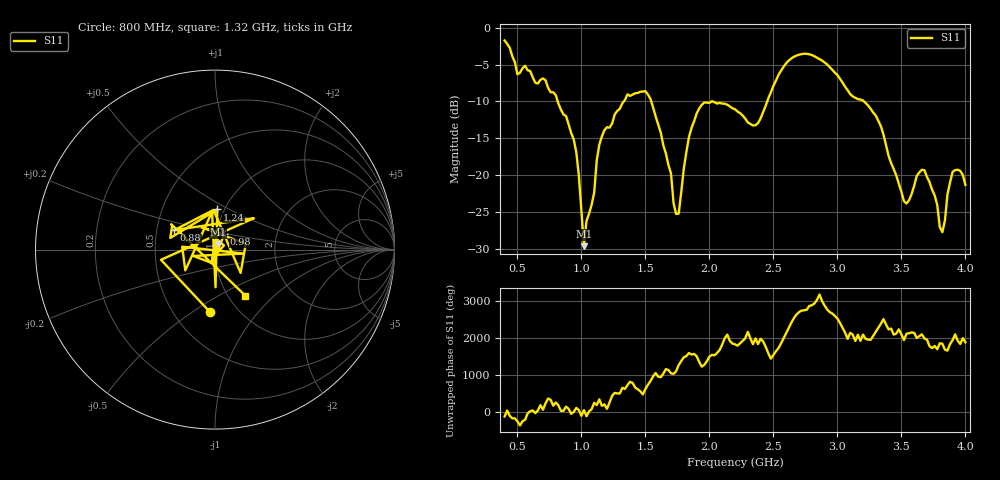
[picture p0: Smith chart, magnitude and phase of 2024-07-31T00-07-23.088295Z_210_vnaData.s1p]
!Created with skrf (http://scikit-rf.org).
# Hz S RI R 50.0
!freq ReS11 ImS11
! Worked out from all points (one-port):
!   181 points, 400 MHz to 4 GHz, reference 50 ohm
!   lowest |S11| = -29.6 dB at 1.02 GHz (marker M1), VSWR 1.07, Z = 51.6 + j2.96 ohm
!   |S11| at or under -10 dB: 815.1 MHz to 1.331 GHz (516 MHz wide, 48.1 % of centre); 1.546 GHz to 2.017 GHz (471.4 MHz wide, 26.5 % of centre); 3.208 GHz to end of sweep (the widest 3 of 4)
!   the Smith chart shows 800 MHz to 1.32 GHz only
!   S11 on the Smith chart (normalised r, x): 800 MHz: 0.75, -0.59; 880 MHz: 0.62, +0.14; 980 MHz: 1.09, +0.19; 1.24 GHz: 0.93, +0.44; 1.32 GHz: 1.20, -0.68
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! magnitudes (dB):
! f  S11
! 400 MHz  -1.7
! 500 MHz  -6.3
! 800 MHz  -9.1
! 860 MHz  -11.8
! 880 MHz  -12.0
! 980 MHz  -20.0
! 1.02 GHz  -29.6
! 1.1 GHz  -22.3
! 1.14 GHz  -15.9
! 1.24 GHz  -13.0
! 1.3 GHz  -11.0
! 1.32 GHz  -10.2
! 1.54 GHz  -9.7
! 1.76 GHz  -25.2
! 1.84 GHz  -14.9
! 1.92 GHz  -11.0
! 2.2 GHz  -11.1
! 2.38 GHz  -12.9
! 2.66 GHz  -3.9
! 2.88 GHz  -4.4
! 3.1 GHz  -9.0
! 3.3 GHz  -11.9
! 3.52 GHz  -23.5
! 3.56 GHz  -23.4
! 3.68 GHz  -19.3
! 3.82 GHz  -27.7
! 3.9 GHz  -19.6
! 4 GHz  -21.3
